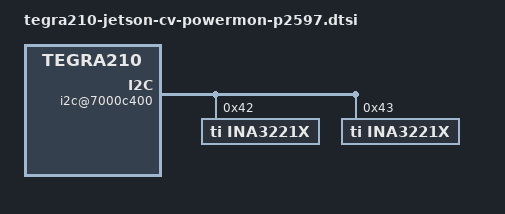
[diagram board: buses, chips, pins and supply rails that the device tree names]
/*
 * Copyright (c) 2015, NVIDIA CORPORATION.  All rights reserved.
 *
 * This program is free software; you can redistribute it and/or modify
 * it under the terms of the GNU General Public License as published by
 * the Free Software Foundation; either version 2 of the License, or
 * (at your option) any later version.
 *
 * This program is distributed in the hope that it will be useful, but WITHOUT
 * ANY WARRANTY; without even the implied warranty of MERCHANTABILITY or
 * FITNESS FOR A PARTICULAR PURPOSE.  See the GNU General Public License for
 * more details.
 *
 * You should have received a copy of the GNU General Public License along
 * along with this program. If not, see <http://www.gnu.org/licenses/>.
 */

/ {
	i2c@7000c400 {
		ina3221x@42 {
			compatible = "ti,ina3221x";
			reg = <0x42>;
			ti,trigger-config = <0x7003>;
			ti,continuous-config = <0x7607>;
			ti,enable-forced-continuous;
			#io-channel-cells = <1>;
			#address-cells = <1>;
			#size-cells = <0>;
			status = "okay";

			channel@0 {
				reg = <0x0>;
				ti,rail-name = "VDD_MUX";
				ti,shunt-resistor-mohm = <20>;
			};

			channel@1 {
				reg = <0x1>;
				ti,rail-name = "VDD_5V_IO_SYS";
				ti,shunt-resistor-mohm = <5>;
			};

			channel@2 {
				reg = <0x2>;
				ti,rail-name = "VDD_3V3_SYS";
				ti,shunt-resistor-mohm = <10>;
			};
		};
		ina3221x@43 {
			compatible = "ti,ina3221x";
			reg = <0x43>;
			ti,trigger-config = <0x7003>;
			ti,continuous-config = <0x7607>;
			ti,enable-forced-continuous;
			#io-channel-cells = <1>;
			#address-cells = <1>;
			#size-cells = <0>;
			status = "okay";

			channel@0 {
				reg = <0x0>;
				ti,rail-name = "VDD_3V3_IO";
				ti,shunt-resistor-mohm = <10>;
			};

			channel@1 {
				reg = <0x1>;
				ti,rail-name = "VDD_1V8_IO";
				ti,shunt-resistor-mohm = <10>;
			};

			channel@2 {
				reg = <0x2>;
				ti,rail-name = "VDD_M2_IN";
				ti,shunt-resistor-mohm = <10>;
			};
		};
	};
};
